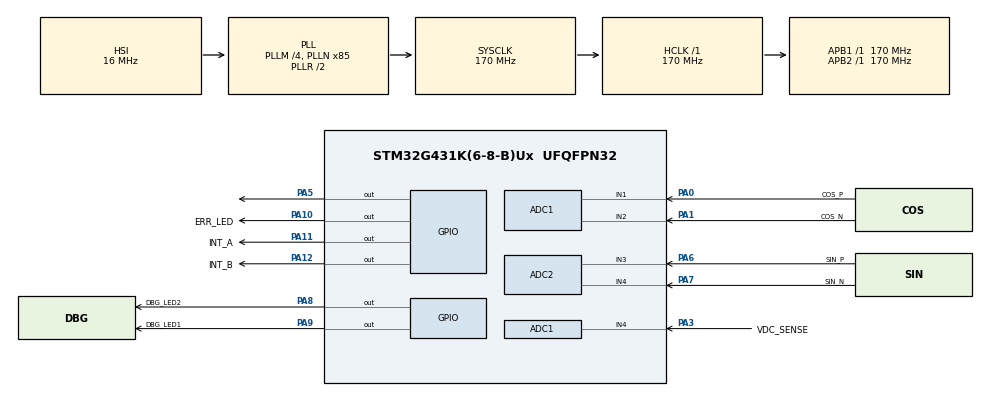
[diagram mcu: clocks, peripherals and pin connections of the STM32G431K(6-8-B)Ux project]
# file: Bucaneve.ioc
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ADC1.Channel-2\#ChannelRegularConversion=ADC_CHANNEL_4
ADC1.DataAlign=ADC_DATAALIGN_RIGHT
ADC1.EnableInjectedConversion=ENABLE
ADC1.EnableInjectedOversampling=ENABLE
ADC1.ExternalTrigConv=ADC_SOFTWARE_START
ADC1.ExternalTrigInjecConv=ADC_EXTERNALTRIGINJEC_T2_TRGO
ADC1.GainCompensation=4096
ADC1.InjNumberOfConversion=1
ADC1.InjOversamplingRatio=ADC_OVERSAMPLING_RATIO_4
ADC1.InjOversamplingRightShift=ADC_RIGHTBITSHIFT_2
ADC1.InjectedChannel-3\#ChannelInjectedConversion=ADC_CHANNEL_1
ADC1.InjectedOffset-3\#ChannelInjectedConversion=2048
ADC1.InjectedOffsetNumber-3\#ChannelInjectedConversion=ADC_OFFSET_1
ADC1.InjectedRank-3\#ChannelInjectedConversion=1
ADC1.InjectedSamplingTime-3\#ChannelInjectedConversion=ADC_SAMPLETIME_12CYCLES_5
ADC1.InjectedSingleDiff-3\#ChannelInjectedConversion=ADC_DIFFERENTIAL_ENDED
ADC1.Mode=ADC_MODE_INDEPENDENT
ADC1.NbrOfConversion=1
ADC1.NbrOfConversionFlag=1
ADC1.Offset-2\#ChannelRegularConversion=0
ADC1.OffsetNumber-2\#ChannelRegularConversion=ADC_OFFSET_1
ADC1.Rank-2\#ChannelRegularConversion=1
ADC1.Rank1_Channel=ADC_CHANNEL_1
ADC1.SamplingTime-2\#ChannelRegularConversion=ADC_SAMPLETIME_640CYCLES_5
ADC1.master=1
ADC2.DataAlign=ADC_DATAALIGN_RIGHT
ADC2.EnableInjectedConversion=ENABLE
ADC2.EnableInjectedOversampling=ENABLE
ADC2.EnableRegularConversion=DISABLE
ADC2.ExternalTrigInjecConv=ADC_EXTERNALTRIGINJEC_T2_TRGO
ADC2.GainCompensation=4375
ADC2.InjNumberOfConversion=1
ADC2.InjOversamplingRatio=ADC_OVERSAMPLING_RATIO_4
ADC2.InjOversamplingRightShift=ADC_RIGHTBITSHIFT_2
ADC2.InjectedChannel-1\#ChannelInjectedConversion=ADC_CHANNEL_3
ADC2.InjectedOffset-1\#ChannelInjectedConversion=2048
ADC2.InjectedOffsetNumber-1\#ChannelInjectedConversion=ADC_OFFSET_1
ADC2.InjectedRank-1\#ChannelInjectedConversion=1
ADC2.InjectedSamplingTime-1\#ChannelInjectedConversion=ADC_SAMPLETIME_12CYCLES_5
ADC2.InjectedSingleDiff-1\#ChannelInjectedConversion=ADC_DIFFERENTIAL_ENDED
ADC2.Rank1_Channel=ADC_CHANNEL_3
Mcu.Family=STM32G4
Mcu.Name=STM32G431K(6-8-B)Ux
Mcu.Package=UFQFPN32
Mcu.UserConstants=TIM7_PSC,0;TIM7_ARR,17000;ADC_OFFSET_DEFAULT,2048;TIM2_ARR,567
NVIC.ADC1_2_IRQn=true\:2\:0\:true\:false\:false\:true\:false\:true
NVIC.CORDIC_IRQn=true\:3\:0\:true\:false\:false\:true\:false\:true
NVIC.PriorityGroup=NVIC_PRIORITYGROUP_4
NVIC.TIM2_IRQn=true\:4\:0\:true\:false\:false\:true\:false\:true
NVIC.TIM4_IRQn=true\:1\:0\:true\:false\:false\:true\:false\:true
NVIC.TIM7_IRQn=true\:14\:0\:true\:false\:false\:true\:false\:true
PA0.GPIO_Label=COS_P
PA0.Mode=IN1-Differential
PA0.Signal=ADC1_IN1
PA1.GPIO_Label=COS_N
PA1.Mode=IN1-Differential
PA1.Signal=ADC1_IN2
PA10.GPIO_Label=ERR_LED
PA10.Signal=GPIO_Output
PA11.GPIO_Label=INT_A
PA11.Signal=GPIO_Output
PA12.GPIO_Label=INT_B
PA12.Signal=GPIO_Output
PA13.GPIO_Label=SWDIO
PA13.Mode=Trace_Asynchronous_SW
PA13.Signal=SYS_JTMS-SWDIO
PA14.GPIO_Label=SWCLK
PA14.Mode=Trace_Asynchronous_SW
PA14.Signal=SYS_JTCK-SWCLK
PA3.GPIO_Label=VDC_SENSE
PA3.Mode=IN4-Single-Ended
PA3.Signal=ADC1_IN4
PA5.Signal=GPIO_Output
PA6.GPIO_Label=SIN_P
PA6.Mode=IN3-Differential
PA6.Signal=ADC2_IN3
PA7.GPIO_Label=SIN_N
PA7.Mode=IN3-Differential
PA7.Signal=ADC2_IN4
PA8.GPIO_Label=DBG_LED2
PA8.Signal=GPIO_Output
PA9.GPIO_Label=DBG_LED1
PA9.Signal=GPIO_Output
PB3.GPIO_Label=SWO
PB3.Mode=Trace_Asynchronous_SW
PB3.Signal=SYS_JTDO-SWO
ProjectManager.HeapSize=0x200
ProjectManager.StackSize=0x400
ProjectManager.TargetToolchain=CMake
RCC.ADC12Freq_Value=170000000
RCC.AHBFreq_Value=170000000
RCC.APB1Freq_Value=170000000
RCC.APB1TimFreq_Value=170000000
RCC.APB2Freq_Value=170000000
RCC.APB2TimFreq_Value=170000000
RCC.CortexFreq_Value=170000000
RCC.EXTERNAL_CLOCK_VALUE=12288000
RCC.HCLKFreq_Value=170000000
RCC.HSE_VALUE=8000000
RCC.HSI48_VALUE=48000000
RCC.HSI_VALUE=16000000
RCC.LSE_VALUE=32768
RCC.PLLM=RCC_PLLM_DIV4
RCC.PLLN=85
RCC.SYSCLKFreq_VALUE=170000000
RCC.SYSCLKSource=RCC_SYSCLKSOURCE_PLLCLK
RCC.USBFreq_Value=170000000
RCC.VCOOutputFreq_Value=340000000
TIM2.AutoReloadPreload=TIM_AUTORELOAD_PRELOAD_ENABLE
TIM2.PeriodNoDither=TIM2_ARR-1
TIM2.Prescaler=0
TIM2.TIM_MasterOutputTrigger=TIM_TRGO_UPDATE
TIM4.Channel-Output\ Compare1\ No\ Output=TIM_CHANNEL_1
TIM4.OCMode_1=TIM_OCMODE_ACTIVE
TIM4.PulseNoDither_1=65535
TIM7.AutoReloadPreload=TIM_AUTORELOAD_PRELOAD_ENABLE
TIM7.PeriodNoDither=TIM7_ARR -1 
TIM7.Prescaler=TIM7_PSC
VP_CORDIC_VS_CORDIC.Mode=CORDIC_Activate
VP_CRC_VS_CRC.Mode=CRC_Activate
VP_SYS_VS_DBSignals.Mode=DisableDeadBatterySignals
VP_TIM2_VS_ClockSourceINT.Mode=Internal
VP_TIM4_VS_ClockSourceINT.Mode=Internal
VP_TIM4_VS_OPM.Mode=OPM_bit
VP_TIM4_VS_no_output1.Mode=Output Compare1 No Output
VP_TIM6_VS_ClockSourceINT.Mode=Enable_Timer
VP_TIM7_VS_ClockSourceINT.Mode=Enable_Timer
board=custom

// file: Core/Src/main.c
/* USER CODE BEGIN Header */
/**
  ******************************************************************************
  * @file           : main.c
  * @brief          : Main program body
  ******************************************************************************
  * @attention
  *
  * Copyright (c) 2026 STMicroelectronics.
  * All rights reserved.
  *
  * This software is licensed under terms that can be found in the LICENSE file
  * in the root directory of this software component.
  * If no LICENSE file comes with this software, it is provided AS-IS.
  *
  ******************************************************************************
  */
/* USER CODE END Header */
#include "main.h"
#include "adc.h"
#include "calib_coeffs.h"
#include "cordic.h"
#include "crc.h"
#include "tim.h"
#include "gpio.h"

/* USER CODE BEGIN Includes */
#include <stdint.h>
#include <string.h>
#include "stm32g4xx_it.h"

#include "defines.h"
#include "eeprom_emul.h"

#include "sync_timer.h"
#include "cordic_fcns.h"
#include "adc_fcns.h"
#include "eeprom_fcns.h"

#include "system_status.h"
#include "led_handler.h"
#include "output_generator.h"
#include "input_calibration.h"
/* USER CODE END Includes */

/* USER CODE BEGIN PD */
#define NVIC_ISR_NUMBER (118)
/* USER CODE END PD */

/* USER CODE BEGIN PV */

//extern used because variables are declared in the linker script
extern uint32_t Reset_Handler;
extern uint32_t _estack, _sidata, _sdata, _edata, _si_ccm_sram_code, _sccm_sram_code,
                _eccm_sram_code, _si_ccm_sram_data, _sccm_sram_data, _eccm_sram_data,
                _si_ccm_sram_rodata, _sccm_sram_rodata, _eccm_sram_rodata, _sbss,
                _ebss;

__attribute__((section(".ccm_data")))
__attribute__((aligned(0x200)))
volatile uint32_t isr_vec[NVIC_ISR_NUMBER];

float vcc;
/* USER CODE END PV */

void SystemClock_Config(void);
/* USER CODE BEGIN PFP */
void relocate_isr_table();
void set_adc_irq_ptr(uint8_t calibration);
void init_ram();

/* USER CODE END PFP */

int main(void)
{

  /* USER CODE BEGIN 1 */
  uint16_t ii;
  uint8_t stat;
  /* USER CODE END 1 */

  /* MCU Configuration--------------------------------------------------------*/

  /* Reset of all peripherals, Initializes the Flash interface and the Systick. */
  HAL_Init();

  /* Configure the system clock */
  SystemClock_Config();

  /* USER CODE BEGIN SysInit */

  //----------------------------------------------------------------------------
  //                          RAM initialization
  //----------------------------------------------------------------------------

  init_ram();

  //----------------------------------------------------------------------------
  //                        ISR functions relocation
  //----------------------------------------------------------------------------

  relocate_isr_table();

  /* USER CODE END SysInit */

  /* Initialize all configured peripherals */
  MX_GPIO_Init();
  MX_ADC1_Init();
  MX_ADC2_Init();
  MX_CORDIC_Init();
  MX_TIM2_Init();
  MX_TIM7_Init();
  MX_TIM6_Init();
  MX_CRC_Init();
  MX_TIM4_Init();
  /* USER CODE BEGIN 2 */

  //led handler timer
  set_system_status(SYSTEM_STATUS_INIT);

  led_handler_init(LED_TIM_FCNT_KHZ);

  //----------- Initialize calibration coefficients to default -----------------
  calib_coeff_reset_to_defaults();

  //----------------------------------------------------------------------------
  //                             EEPROM init
  //----------------------------------------------------------------------------
  eeprom_unlock();

  #if EEPROM_ERASE

  stat = eeprom_erase();

  #else

  stat = eeprom_read_params((uint32_t*)calib_coeff_get_ptr(),CAL_COEFF_MAX_NUM,calib_coeff_get_start_eeprom_addr());

  #endif

  if(!stat)
  {
    set_system_status(SYSTEM_STATUS_ERROR);
  }

  //init peripherals if init status
  if(SYSTEM_STATUS_INIT == get_system_status())
  {
  //----------------------------------------------------------------------------
  //                          Peripherals init
  //----------------------------------------------------------------------------

  //-------------------------------- ADCs --------------------------------------
    adcs_init();

  //------------------------------- CORDIC -------------------------------------
    cordic_init();

  //---------------------------- ADC sync timer --------------------------------
    sync_timer_init(1);

  //----------------------------------------------------------------------------
  //                              Code init
  //----------------------------------------------------------------------------
    //output generator module init
    output_generator_init(PPR_OUT/POLE_PAIRS);

    //load calibration parameters inside output generator module
    stat = output_generator_set_cal_coeff(calib_coeff_get_ptr());

    if(!stat)
    {
      set_system_status(SYSTEM_STATUS_ERROR);
    }
    //input calibration module init
    struct input_calibration_private_vars_init_s input_calibration_private_vars_init_v =
    {
      .revolutions_pre_acq  = N_TURNS_WAIT_CAL,
      .revolutions_acq      = N_TURNS_CAL
    };

    if(stat)
    {
      stat = calib_coeff_copy(input_calibration_private_vars_init_v.calib_coeff);
    }

    if(stat)
    {
      input_calibration_init(input_calibration_private_vars_init_v);
    }
    else
    {
      set_system_status(SYSTEM_STATUS_ERROR);
    }

  }
  //----------------------------------------------------------------------------
  //                          Read supply voltage
  //----------------------------------------------------------------------------

  if(SYSTEM_STATUS_INIT == get_system_status())
  {
    //wait for voltage to settle (500ms)
    HAL_Delay(500);

    //read supply voltage (polling)
    vcc = adc_read_supply_voltage();

    //if supply voltage under the threshold
    if(vcc < VCC_CAL_THR)
    {
      //--------------------- begin normal operation -----------------------------

      set_system_status(SYSTEM_STATUS_RUNNING);

      //point ADC_IRQ to "read_adcs_output" function
      set_adc_irq_ptr(0);

      //start sampling
      sync_timer_start(0);
    }
    else
    {
      //-------------------- begin calibration operation -------------------------

      set_system_status(SYSTEM_STATUS_CALIBRATION);

      //point ADC_IRQ to "read_adcs_calibration" function
      set_adc_irq_ptr(1);

      //start sampling
      sync_timer_start(1);
    }

    adcs_en_injected_conversion();

    //start TIM6 for profiling
    TIM6->CR1 |= TIM_CR1_CEN_Msk;
  }
  //----------------------------------------------------------------------------

  /* USER CODE END 2 */

  /* Infinite loop */
  /* USER CODE BEGIN WHILE */

  while (1)
  {
    if(SYSTEM_STATUS_CALIBRATION == get_system_status() && input_calibration_get_acquisition_done())
    {
      //calculate compensation coefficients
      stat = input_calibration_calculate_coefficients();
      if(stat)
      {
        //copy calculated coefficients to the structure
        stat = input_calibration_copy_cal_coeff(calib_coeff_get_ptr());
      }
      else
      {
        set_system_status(SYSTEM_STATUS_ERROR);
      }

      if(stat)
      {
        #if (EEPROM_WRITE && EEPROM_ERASE == 0)
        stat = eeprom_write_params((uint32_t*)calib_coeff_get_ptr(), CAL_COEFF_MAX_NUM, calib_coeff_get_start_eeprom_addr());
        #endif
      }
      else
      {
        set_system_status(SYSTEM_STATUS_ERROR);
      }

      if(stat)
      {
        set_system_status(SYSTEM_STATUS_CALIBRATION_DONE);
      }
      else
      {
        set_system_status(SYSTEM_STATUS_ERROR);
      }

    }

    /* USER CODE END WHILE */

  }
}

void SystemClock_Config(void)
{
  RCC_OscInitTypeDef RCC_OscInitStruct = {0};
  RCC_ClkInitTypeDef RCC_ClkInitStruct = {0};

  /** Configure the main internal regulator output voltage
  */
  HAL_PWREx_ControlVoltageScaling(PWR_REGULATOR_VOLTAGE_SCALE1_BOOST);

  /** Initializes the RCC Oscillators according to the specified parameters
  * in the RCC_OscInitTypeDef structure.
  */
  RCC_OscInitStruct.OscillatorType = RCC_OSCILLATORTYPE_HSI;
  RCC_OscInitStruct.HSIState = RCC_HSI_ON;
  RCC_OscInitStruct.HSICalibrationValue = RCC_HSICALIBRATION_DEFAULT;
  RCC_OscInitStruct.PLL.PLLState = RCC_PLL_ON;
  RCC_OscInitStruct.PLL.PLLSource = RCC_PLLSOURCE_HSI;
  RCC_OscInitStruct.PLL.PLLM = RCC_PLLM_DIV4;
  RCC_OscInitStruct.PLL.PLLN = 85;
  RCC_OscInitStruct.PLL.PLLP = RCC_PLLP_DIV2;
  RCC_OscInitStruct.PLL.PLLQ = RCC_PLLQ_DIV2;
  RCC_OscInitStruct.PLL.PLLR = RCC_PLLR_DIV2;
  if (HAL_RCC_OscConfig(&RCC_OscInitStruct) != HAL_OK)
  {
    Error_Handler();
  }

  /** Initializes the CPU, AHB and APB buses clocks
  */
  RCC_ClkInitStruct.ClockType = RCC_CLOCKTYPE_HCLK|RCC_CLOCKTYPE_SYSCLK
                              |RCC_CLOCKTYPE_PCLK1|RCC_CLOCKTYPE_PCLK2;
  RCC_ClkInitStruct.SYSCLKSource = RCC_SYSCLKSOURCE_PLLCLK;
  RCC_ClkInitStruct.AHBCLKDivider = RCC_SYSCLK_DIV1;
  RCC_ClkInitStruct.APB1CLKDivider = RCC_HCLK_DIV1;
  RCC_ClkInitStruct.APB2CLKDivider = RCC_HCLK_DIV1;

  if (HAL_RCC_ClockConfig(&RCC_ClkInitStruct, FLASH_LATENCY_4) != HAL_OK)
  {
    Error_Handler();
  }
}

/* USER CODE BEGIN 4 */

void relocate_isr_table()
{

  __disable_irq();

  //cortex-M4 IRQs
  isr_vec[0] 							              = (uint32_t)(&_estack);       	//address -16 to end of stack
  isr_vec[1] 							              = (uint32_t)(&Reset_Handler); 	//address -15 to end of stack
  isr_vec[16 + NonMaskableInt_IRQn]  	  = (uint32_t)(NMI_Handler);
  isr_vec[16 + HardFault_IRQn]          = (uint32_t)(HardFault_Handler); //Hard fault is irq # -13
  isr_vec[16 + MemoryManagement_IRQn]  	= (uint32_t)(MemManage_Handler);
  isr_vec[16 + BusFault_IRQn]  			    = (uint32_t)(BusFault_Handler);
  isr_vec[16 + UsageFault_IRQn]  		    = (uint32_t)(UsageFault_Handler);
  isr_vec[16 + SVCall_IRQn]  			      = (uint32_t)(SVC_Handler);
  isr_vec[16 + DebugMonitor_IRQn]  		  = (uint32_t)(DebugMon_Handler);
  isr_vec[16 + PendSV_IRQn]  			      = (uint32_t)(PendSV_Handler);
  isr_vec[16 + SysTick_IRQn] 			      = (uint32_t)(SysTick_Handler);

  //peripheral IRQs
  isr_vec[16 + TIM2_IRQn]      			    = (uint32_t)(TIM2_irq_handler);
  isr_vec[16 + TIM7_IRQn]      			    = (uint32_t)(blink_led);
  isr_vec[16 + CORDIC_IRQn]      			  = (uint32_t)(calculate_outputs);
  isr_vec[16 + ADC1_2_IRQn]      			  = (uint32_t)(read_adcs_output);
  isr_vec[16 + TIM4_IRQn]      			    = (uint32_t)(update_out_pins);

  //relocate interrupt vector table
  SCB->VTOR = (uint32_t)(isr_vec);

  __DSB();
  __ISB();

  __enable_irq();

  return;
}

void init_ram()
{
  //copy memory regions to RAM
  memcpy(&_sdata,&_sidata,((void*)(&_edata)-(void*)(&_sdata))); //initialized variables
  memcpy(&_sccm_sram_code,&_si_ccm_sram_code,((void*)(&_eccm_sram_code)-(void*)(&_sccm_sram_code))); //fast code
  memcpy(&_sccm_sram_data,&_si_ccm_sram_data,((void*)(&_eccm_sram_data)-(void*)(&_sccm_sram_data))); //fast code variables
  memcpy(&_sccm_sram_rodata,&_si_ccm_sram_rodata,((void*)(&_eccm_sram_rodata)-(void*)(&_sccm_sram_rodata))); //fast code constants

  //reset uninitialized variables
  memset(&_sbss,0,((void*)(&_ebss)-(void*)(&_sbss)));
  return;
}

void set_adc_irq_ptr(uint8_t calibration)
{
  __disable_irq();
  if(calibration)
  {
    isr_vec[16 + ADC1_2_IRQn] = (uint32_t)(read_adcs_calibration);
  }
  else
  {
    isr_vec[16 + ADC1_2_IRQn] = (uint32_t)(read_adcs_output);
  }

  __enable_irq();
  return;
}

/* USER CODE END 4 */

void Error_Handler(void)
{
  __disable_irq();
  while (1)
  {
  }
}
